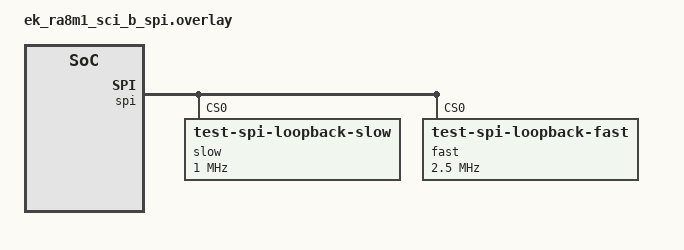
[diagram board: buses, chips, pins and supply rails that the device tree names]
/*
 * Copyright (c) 2025 Renesas Electronics Corporation
 * SPDX-License-Identifier: Apache-2.0
 */

&pinctrl {
	sci2_spi_default: sci2_spi_default {
		group1 {
			/* MISO MOSI SCK */
			psels = <RA_PSEL(RA_PSEL_SCI_2, 10, 2)>,
				<RA_PSEL(RA_PSEL_SCI_2, 10, 3)>,
				<RA_PSEL(RA_PSEL_SCI_2, 10, 4)>;
			drive-strength = "high";
		};
	};
};

&sci2 {
	pinctrl-0 = <&sci2_spi_default>;
	pinctrl-names = "default";

	spi {
		status = "okay";

		slow@0 {
			compatible = "test-spi-loopback-slow";
			reg = <0>;
			spi-max-frequency = <1000000>;
		};

		fast@0 {
			compatible = "test-spi-loopback-fast";
			reg = <0>;
			spi-max-frequency = <2500000>;
		};
	};

	uart {
		status = "disabled";
	};

	i2c {
		status = "disabled";
	};
};
